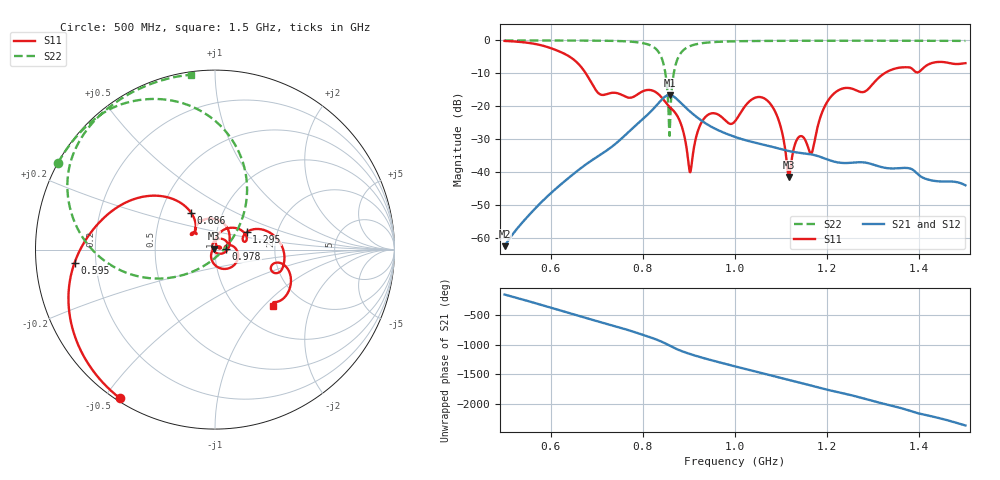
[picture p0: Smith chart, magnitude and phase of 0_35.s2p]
! TOUCHSTONE file generated by CST MICROWAVE STUDIO
! Date and time: Mon Sep 28 14:16:01 2020
! Project name: Scenario_1_Free_SPace.cst
! Parameters = {dx1=762.1; L_HA=400; MT=2.54; Rad_Dielectric=30; Rad_Lower=7.3; Rad_Upper=30; a_HA=580; a_WG=246; b_HA=500; b_WG=121; c_HA=0; c_WG=187; d_feed=85; h_feed=15; h_lower=18; h_upper=40}
! Header version: 2018
! Port assignment regex: !\s*Touchstone port\s*([0-9]+)\s*=\s*(CST MWS port|CST DS port)\s*([0-9]+|Zmin|Zmax)\s*\(\"(.*)\"\)(\s*mode\s*([0-9]+))?.*
! Touchstone port assignment:
! Touchstone port 1 = CST MWS port 1 ("")
! Touchstone port 2 = CST MWS port 2 ("")
# GHz S DB R 50
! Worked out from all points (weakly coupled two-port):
!   1003 points, 500 MHz to 1.5 GHz, reference 50 ohm
!   highest |S21| = -16.59 dB at 858 MHz (marker M1); lowest = -62.5 dB at 500 MHz (marker M2)
!   lowest |S11| = -41.5 dB at 1.117 GHz (marker M3), VSWR 1.02, Z = 49.4 + j0.592 ohm
!   |S11| at or under -10 dB: 676.2 MHz to 1.324 GHz (648 MHz wide, 64.8 % of centre)
!   |S22| runs from -29.0 to 0.0 dB; largest |S21 - S12| = 2.1e-05
!   S11 on the Smith chart (normalised r, x): 500 MHz: 0.01, -0.55; 595 MHz: 0.12, -0.05; 686 MHz: 0.71, +0.31; 978 MHz: 1.13, +0.01; 1.295 GHz: 1.40, +0.28; 1.5 GHz: 1.43, -1.13
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0.5  -0.15 -122.7  -62.53 -156.1  -62.53 -156.1  -0.01 151.1
0.595  -2.10 -174.7  -47.11 -5.6  -47.11 -5.6  -0.02 144.5
0.667  -8.21 131.7  -38.66 -168.2  -38.66 -168.2  -0.04 138.3
0.686  -12.28 122.9  -36.74 148.2  -36.74 148.2  -0.06 136.3
0.782  -16.98 140.0  -26.15 -68.6  -26.15 -68.6  -0.47 119.4
0.834  -16.34 70.7  -19.05 151.9  -19.05 151.9  -3.49 85.5
0.846  -18.21 50.3  -17.32 110.6  -17.32 110.6  -7.82 64.0
0.858  -20.18 33.3  -16.59 63.5  -16.59 63.5  -28.99 -55.1
0.874  -22.76 3.2  -17.85 3.5  -17.85 3.5  -6.12 -164.1
0.903  -40.07 -152.0  -21.68 -79.5  -21.68 -79.5  -1.68 165.9
0.933  -23.71 68.1  -24.91 -149.2  -24.91 -149.2  -0.75 153.3
0.978  -24.19 2.9  -28.17 117.7  -28.17 117.7  -0.34 143.4
1  -24.57 17.2  -29.32 73.8  -29.32 73.8  -0.26 140.2
1.07  -18.26 -61.7  -31.95 -64.0  -31.95 -64.0  -0.14 132.4
1.096  -24.77 -109.5  -32.90 -115.3  -32.90 -115.3  -0.12 130.0
1.117  -41.47 134.8  -33.62 -155.6  -33.62 -155.6  -0.11 128.2
1.139  -29.30 25.5  -34.14 162.5  -34.14 162.5  -0.10 126.4
1.167  -34.05 55.3  -34.67 106.4  -34.67 106.4  -0.10 124.1
1.21  -16.80 56.6  -36.62 22.5  -36.62 22.5  -0.09 120.8
1.295  -13.88 28.9  -37.52 -141.1  -37.52 -141.1  -0.09 114.4
1.334  -9.25 11.6  -38.87 143.4  -38.87 143.4  -0.09 111.4
1.5  -6.91 -44.1  -44.01 158.4  -43.99 158.2  -0.14 97.8
